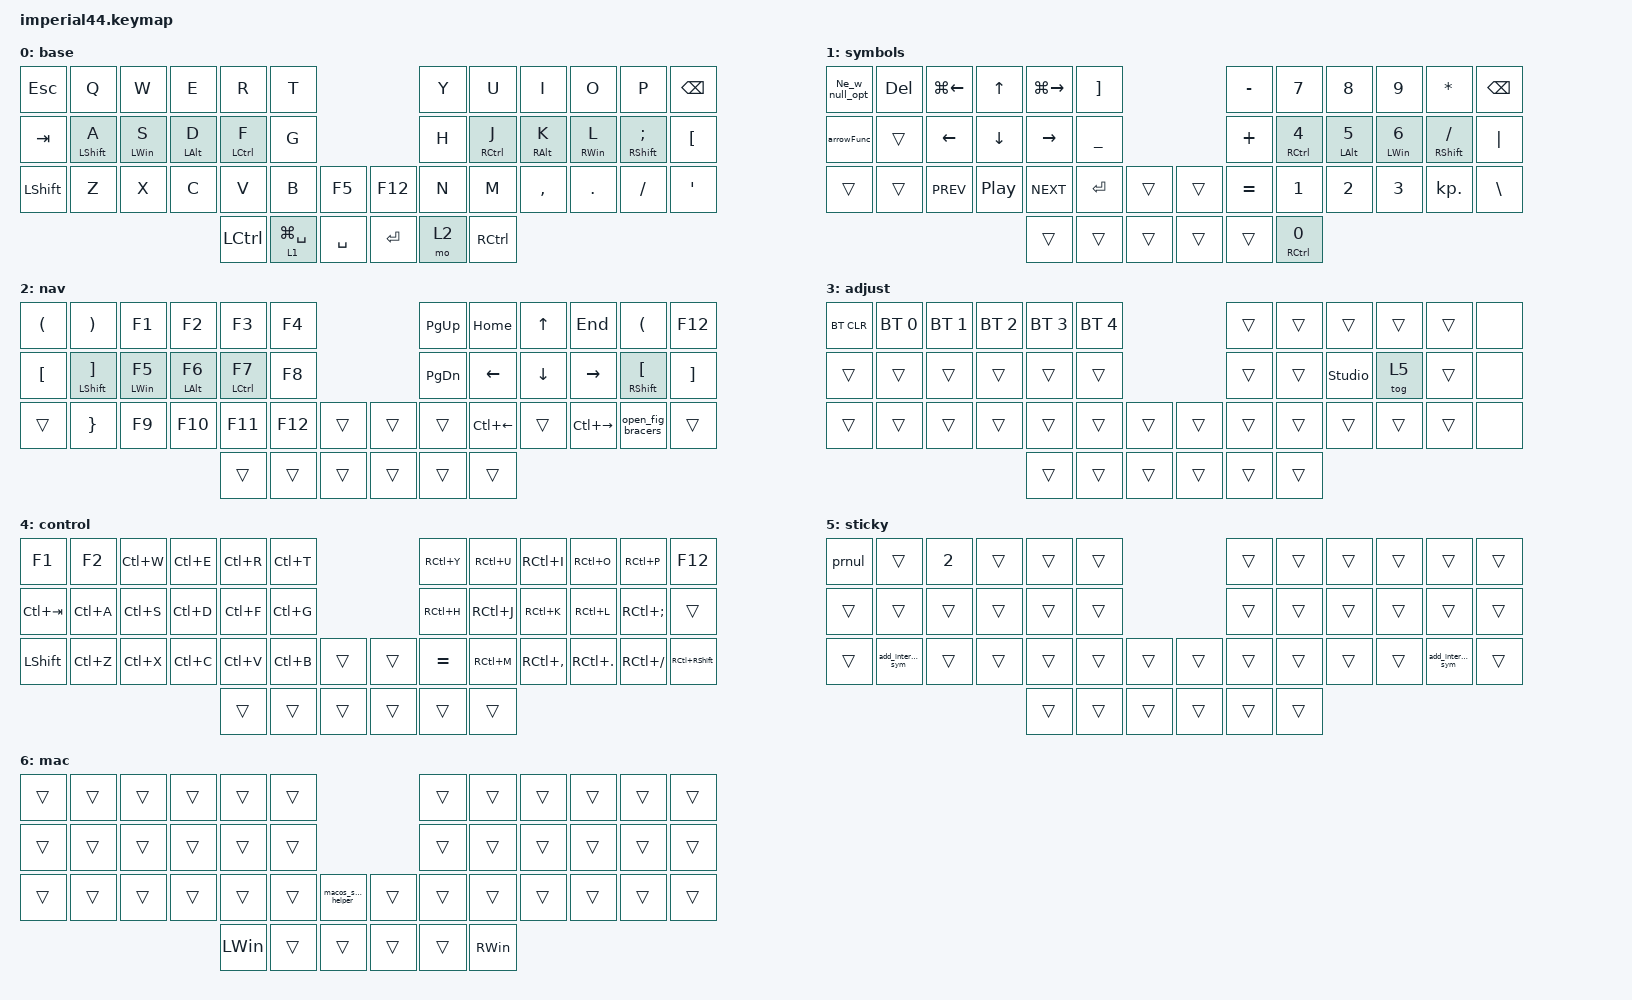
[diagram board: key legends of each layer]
#include "keys_ru.h"
#include <behaviors.dtsi>
#include <dt-bindings/zmk/bt.h>
#include <dt-bindings/zmk/keys.h>
#include <dt-bindings/zmk/outputs.h>

#define BASE 0
#define SYMBOLS 1
#define NAV 2
#define ADJUST 3
#define CONTROL 4
#define STICKY 5
#define MAC 6

&mt { flavor = "tap-preferred"; };

/ {

    conditional_layers {
        compatible = "zmk,conditional-layers";

        adjust {
            if-layers = <1 2>;
            then-layer = <3>;
        };
    };

    behaviors {
        smart_ht: smart_ht {
            compatible = "zmk,behavior-hold-tap";
            #binding-cells = <2>;
            flavor = "tap-preferred";
            tapping-term-ms = <150>;

            // Первый биндинг для Hold (макрос), второй для Tap (клавиша)

            bindings = <&tap_arg>, <&kp>;
        };

        layer_tap_macro: layer_tap_macro {
            compatible = "zmk,behavior-hold-tap";
            label = "LAYER_TAP_MACRO";
            bindings = <&mo>, <&kp>;
            #binding-cells = <2>;
            tapping-term-ms = <170>;
        };
    };

    macros {
        nonEquals: nonEquals {
            compatible = "zmk,behavior-macro";
            #binding-cells = <0>;
            bindings = <&kp EXCL &kp EQUAL>;
            label = "EXCL";
        };

        arrowFunc: arrowFunc {
            compatible = "zmk,behavior-macro";
            #binding-cells = <0>;
            bindings = <&kp EQUAL &kp GT &tog 0>;
            label = "ARROWFUNC";
        };

        macos_switch_helper: macos_switch_helper {
            compatible = "zmk,behavior-macro";
            #binding-cells = <0>;
            bindings =
                <&macro_press>,
                <&tog 5 &kt LGUI>,
                <&macro_pause_for_release>,
                <&tog 5 &kt LGUI>;

            label = "MACOS_SWITCH_HELPER";
        };

        win_switch_helper: win_switch_helper {
            compatible = "zmk,behavior-macro";
            #binding-cells = <0>;
            bindings =
                <&macro_press>,
                <&tog 5 &kt LALT>,
                <&macro_pause_for_release>,
                <&tog 5 &kt LALT>,
                <&macro_press>;

            label = "WIN_SWITCH_HELPER";
        };

        Ne_w_null_opt: Ne_w_null_opt {
            compatible = "zmk,behavior-macro";
            #binding-cells = <0>;
            bindings = <&kp EXCLAMATION &kp EQUAL &sl 5>;
            label = "NE_W_NULL_OPT";
            tap-ms = <0>;
        };

        prnul: null {
            compatible = "zmk,behavior-macro";
            #binding-cells = <0>;
            bindings = <&kp SPACE &kp N &kp U &kp L &kp L &tog 0>;
            label = "NULL";
        };

        open_fig_bracers: open_fig_bracers {
            compatible = "zmk,behavior-macro";
            #binding-cells = <0>;
            bindings = <&kp LBRC &sl 5>;
            label = "OPEN_FIG_BRACERS";
        };

        add_interpolation_sym: add_interpolation_sym {
            compatible = "zmk,behavior-macro";
            #binding-cells = <0>;
            bindings = <&kp LEFT_ARROW &kp DOLLAR &kp RIGHT_ARROW &kp RIGHT_ARROW &tog 0>;
            label = "ADD_INTERPOLATION_SYM";
        };

        tap_arg: tap_arg {
            compatible = "zmk,behavior-macro-one-param";
            #binding-cells = <1>; // Указываем, что ждем 1 аргумент
            bindings = <&macro_param_1to1 &kp MACRO_PLACEHOLDER>;
        };
    };

    keymap {
        compatible = "zmk,keymap";

        base {
            display-name = "base";

            bindings = <
&kp ESCAPE  &kp Q        &kp W      &kp E      &kp R       &kp T                                                 &kp Y  &kp U       &kp I       &kp O            &kp P            &kp BACKSPACE  
&kp TAB     &mt LSHIFT A &mt LWIN S &mt LALT D &mt LCTRL F &kp G                                                 &kp H  &mt RCTRL J &mt RALT K  &mt RWIN L       &mt RSHFT SEMI   &kp LBKT
&kp LSHFT   &kp Z        &kp X      &kp C      &kp V       &kp B                         &kp F5       &kp F12    &kp N  &kp M       &kp COMMA   &kp DOT          &kp FSLH         &kp SQT
                                               &kp LCTRL   &layer_tap_macro 1 LG(SPACE)  &kp SPACE    &kp ENTER  &mo 2  &kp RCTRL
            >;
        };

        symbols {
            display-name = "symbols";

            bindings = <
&Ne_w_null_opt  &kp DEL     &kp LG(LEFT)    &kp UP_ARROW      &kp LG(RIGHT)  &kp RIGHT_BRACKET                    &kp MINUS  &kp NUMBER_7        &kp NUMBER_8       &kp NUMBER_9      &kp ASTRK       &kp BACKSPACE
&arrowFunc      &trans      &kp LEFT_ARROW  &kp DOWN_ARROW    &kp RIGHT      &kp UNDER                            &kp PLUS   &mt RCTRL NUMBER_4  &mt LALT NUMBER_5  &mt LWIN NUMBER_6 &mt RSHFT FSLH  &kp PIPE
&trans          &trans      &kp C_PREV      &kp C_PLAY_PAUSE  &kp C_NEXT     &kp ENTER          &trans    &trans  &kp EQUAL  &kp NUMBER_1        &kp NUMBER_2       &kp NUMBER_3      &kp KP_DOT      &kp BSLH
                                                              &trans         &trans             &trans    &trans  &trans     &mt RCTRL NUMBER_0
            >;
        };

        nav {
            display-name = "nav";

            bindings = <
&kp LPAR  &kp RPAR          &kp F1       &kp F2        &kp F3        &kp F4                            &kp PG_UP  &kp HOME        &kp UP         &kp END         &kp LPAR           &kp F12
&kp LBKT  &mt LSHIFT RBKT   &mt LWIN F5  &mt LALT F6   &mt LCTRL F7  &kp F8                            &kp PG_DN  &kp LEFT        &kp DOWN       &kp RIGHT       &mt RSHFT LBKT     &kp RBKT
&trans    &kp RBRC          &kp F9       &kp F10       &kp F11       &kp F12       &trans    &trans    &trans     &kp LC(LEFT)    &trans         &kp LC(RIGHT)   &open_fig_bracers  &trans
                                                       &trans        &trans        &trans    &trans    &trans     &trans
            >;
        };

        adjust {
            display-name = "adjust";

            bindings = <
&bt BT_CLR         &bt BT_SEL 0     &bt BT_SEL 1     &bt BT_SEL 2     &bt BT_SEL 3     &bt BT_SEL 4                     &trans  &trans  &trans          &trans  &trans &none
&trans             &trans           &trans           &trans           &trans           &trans                           &trans  &trans  &studio_unlock  &tog 5  &trans &none
&trans             &trans           &trans           &trans           &trans           &trans           &trans  &trans  &trans  &trans  &trans          &trans  &trans &none
                                                                      &trans           &trans           &trans  &trans  &trans  &trans
            >;
        };

        control {
            display-name = "control";

            bindings = <
&kp F1       &kp F2     &kp LC(W)  &kp LC(E)  &kp LC(R)  &kp LC(T)                                 &kp RC(Y) &kp RC(U)  &kp RC(I)     &kp RC(O)    &kp RC(P)     &kp F12
&kp LC(TAB)  &kp LC(A)  &kp LC(S)  &kp LC(D)  &kp LC(F)  &kp LC(G)                                 &kp RC(H) &kp RC(J)  &kp RC(K)     &kp RC(L)    &kp RC(SEMI)  &trans
&kp LSHFT    &kp LC(Z)  &kp LC(X)  &kp LC(C)  &kp LC(V)  &kp LC(B)     &trans             &trans   &kp EQUAL &kp RC(M)  &kp RC(COMMA) &kp RC(DOT)  &kp RC(FSLH)  &kp RC(RSHFT)
                                              &trans     &trans        &trans             &trans   &trans    &trans             
            >;
        };


        sticky {
            display-name = "sticky";
            bindings = <
&prnul  &trans                  &kp NUMBER_2  &trans  &trans  &trans                  &trans  &trans  &trans  &trans  &trans                  &trans
&trans  &trans                  &trans        &trans  &trans  &trans                  &trans  &trans  &trans  &trans  &trans                  &trans
&trans  &add_interpolation_sym  &trans        &trans  &trans  &trans  &trans  &trans  &trans  &trans  &trans  &trans  &add_interpolation_sym  &trans
                                                      &trans  &trans  &trans  &trans  &trans  &trans
            >;

        };

        mac {
            display-name = "mac";
            bindings = <
&trans  &trans  &trans     &trans    &trans    &trans                                  &trans  &trans    &trans    &trans     &trans  &trans
&trans  &trans  &trans     &trans    &trans    &trans                                  &trans  &trans    &trans    &trans     &trans  &trans
&trans  &trans  &trans     &trans    &trans    &trans  &macos_switch_helper    &trans  &trans  &trans    &trans    &trans     &trans  &trans
                                     &kp LWIN  &trans  &trans                  &trans  &trans  &kp RWIN  
            >;

            label = "mac";
        };
    };
};
